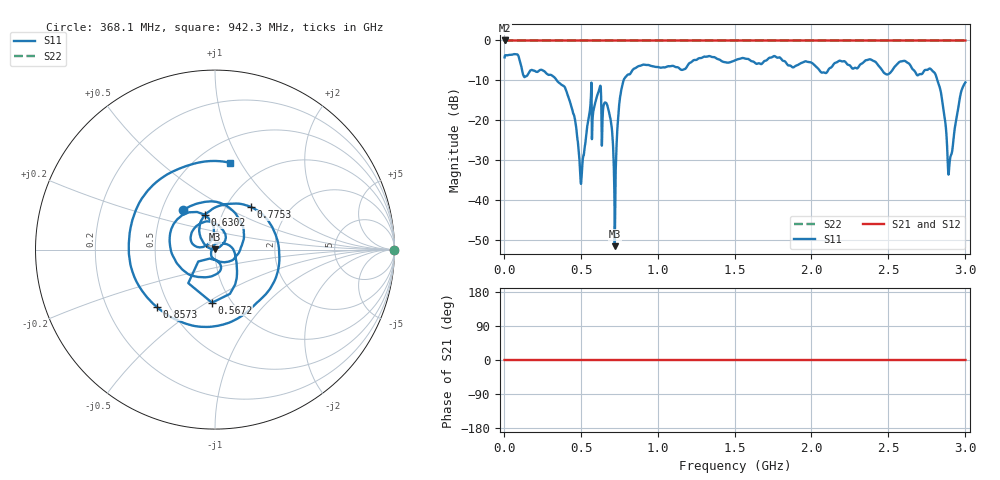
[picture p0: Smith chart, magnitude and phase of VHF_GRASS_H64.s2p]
!Keysight Technologies N9923A: A.08.09
!Date: Thursday, 02 August 2018 08:33:08
!Timezone: (GMT+08:00) Kuala Lumpur, Singapore
!Model: N9923A
!Serial: MY52412143
!GPS Latitude:
!GPS Longitude:
!GPS TimeStamp: 0001-01-01 00:00:00Z
!GPS Seconds Since Last Read: 0
!CHECKSUM:0505920574
!Correction: S11(ON U)S21()S12()S22()
!S2P File: Measurements:S11,S21,S12,S22:
# Hz S DB R 50
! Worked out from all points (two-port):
!   3000 points, 2 MHz to 3.002 GHz, reference 50 ohm
!   highest |S21| = 0.00 dB at 2 MHz (marker M1); lowest = 0.0 dB at 2 MHz (marker M2)
!   |S21| within 3 dB of the highest: start of sweep to end of sweep
!   lowest |S11| = -51.5 dB at 719.2 MHz (marker M3), VSWR 1.01, Z = 50.1 + j0.259 ohm
!   |S11| at or under -10 dB: 341.4 MHz to 776.6 MHz (435.2 MHz wide, 77.9 % of centre); 2.82 GHz to end of sweep
!   |S22| runs from 0.0 to 0.0 dB; largest |S21 - S12| = 0
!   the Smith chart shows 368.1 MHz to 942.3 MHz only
!   S11 on the Smith chart (normalised r, x): 368.1 MHz: 0.64, +0.31; 567.2 MHz: 0.81, -0.53; 630.2 MHz: 0.83, +0.34; 775.3 MHz: 1.30, +0.68; 857.3 MHz: 0.43, -0.35; 942.3 MHz: 0.71, +0.90
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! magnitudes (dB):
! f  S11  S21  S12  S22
! 2 MHz  -4.2  0.0  0.0  0.0
! 368.1 MHz  -11.0  0.0  0.0  0.0
! 451.1 MHz  -18.4  0.0  0.0  0.0
! 502.2 MHz  -35.0  0.0  0.0  0.0
! 567.2 MHz  -10.6  0.0  0.0  0.0
! 614.2 MHz  -12.8  0.0  0.0  0.0
! 630.2 MHz  -13.9  0.0  0.0  0.0
! 683.2 MHz  -18.3  0.0  0.0  0.0
! 719.2 MHz  -51.5  0.0  0.0  0.0
! 749.2 MHz  -15.6  0.0  0.0  0.0
! 775.3 MHz  -10.1  0.0  0.0  0.0
! 857.3 MHz  -6.8  0.0  0.0  0.0
! 942.3 MHz  -6.2  0.0  0.0  0.0
! 1.002 GHz  -6.7  0.0  0.0  0.0
! 1.503 GHz  -5.0  0.0  0.0  0.0
! 2.003 GHz  -5.6  0.0  0.0  0.0
! 2.503 GHz  -8.4  0.0  0.0  0.0
! 2.598 GHz  -5.1  0.0  0.0  0.0
! 2.798 GHz  -8.0  0.0  0.0  0.0
! 2.845 GHz  -13.5  0.0  0.0  0.0
! 2.9 GHz  -30.3  0.0  0.0  0.0
! 3.002 GHz  -10.5  0.0  0.0  0.0
